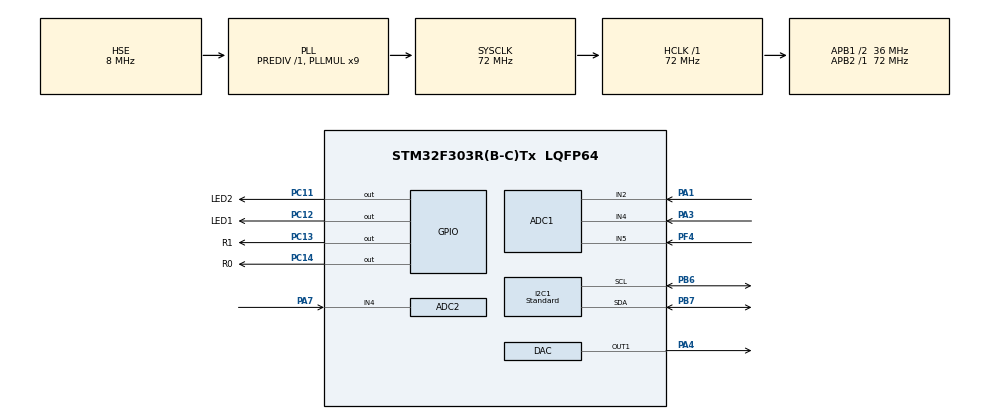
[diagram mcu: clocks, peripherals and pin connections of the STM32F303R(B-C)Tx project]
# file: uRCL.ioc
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Mcu.Family=STM32F3
NVIC.ADC1_2_IRQn=true\:0\:0\:true\:false\:true\:true\:true
PF4.Mode=IN5-Single-Ended
RCC.CortexFreq_Value=72000000
Dma.ADC1.1.MemDataAlignment=DMA_MDATAALIGN_HALFWORD
ADC1.OffsetNumber-7\#ChannelRegularConversion=ADC_OFFSET_NONE
I2C1.I2C_Speed_Mode=I2C_Standard
ADC1.ContinuousConvMode=DISABLE
PC12.Signal=GPIO_Output
RCC.SYSCLKSourceVirtual=RCC_SYSCLKSOURCE_PLLCLK
PC13.GPIO_Label=R1
ProjectManager.StackSize=0x400
VP_TIM2_VS_ClockSourceITR.Mode=TriggerSource_ITR2
Dma.DAC_CH1.0.Instance=DMA2_Channel3
ADC2.DMAContinuousRequests=DISABLE
Dma.ADC1.1.Instance=DMA1_Channel1
ADC1.Mode=ADC_DUALMODE_REGSIMULT
RCC.HCLKFreq_Value=72000000
RCC.APB2TimFreq_Value=72000000
TIM3.Period=144-1
PB6.Signal=I2C1_SCL
Dma.ADC1.1.PeriphDataAlignment=DMA_PDATAALIGN_HALFWORD
PB6.Mode=I2C
ADC1.Rank3_Channel=ADC_CHANNEL_5
RCC.AHBFreq_Value=72000000
RCC.HSE_VALUE=8000000
RCC.PLLMUL=RCC_PLL_MUL9
DAC.DAC_Trigger=DAC_TRIGGER_T3_TRGO
PA14.Mode=Serial_Wire
PC11.GPIO_Label=LED2
Dma.ADC1.1.Priority=DMA_PRIORITY_VERY_HIGH
Dma.DAC_CH1.0.PeriphDataAlignment=DMA_PDATAALIGN_HALFWORD
PB7.Signal=I2C1_SDA
Dma.ADC1.1.Mode=DMA_NORMAL
ADC2.SamplingTimeOPAMP-6\#ChannelRegularConversion=ADC_SAMPLETIME_7CYCLES_5
NVIC.DMA2_Channel3_IRQn=true\:0\:0\:false\:false\:true\:false\:true
Mcu.Package=LQFP64
ADC1.EnableInjectedConversion=DISABLE
ADC2.SamplingTime-6\#ChannelRegularConversion=ADC_SAMPLETIME_19CYCLES_5
PC14-OSC32_IN.PinState=GPIO_PIN_SET
ADC1.SamplingTimeOPAMP-7\#ChannelRegularConversion=ADC_SAMPLETIME_7CYCLES_5
ADC2.Rank-6\#ChannelRegularConversion=1
Dma.ADC1.1.Direction=DMA_PERIPH_TO_MEMORY
Dma.ADC1.1.MemInc=DMA_MINC_ENABLE
Dma.DAC_CH1.0.Priority=DMA_PRIORITY_VERY_HIGH
ADC1.Rank1_Channel=ADC_CHANNEL_4
TIM2.TIM_MasterOutputTrigger=TIM_TRGO_OC1
Dma.Request1=ADC1
RCC.APB1TimFreq_Value=72000000
PC14-OSC32_IN.GPIO_Label=R0
PF1-OSC_OUT.Mode=HSE-External-Oscillator
Dma.Request0=DAC_CH1
ADC2.Offset-6\#ChannelRegularConversion=0
VP_TIM3_VS_ClockSourceINT.Mode=Internal
PF1-OSC_OUT.Signal=RCC_OSC_OUT
ADC2.Rank1_Channel=ADC_CHANNEL_4
PA3.Signal=ADC1_IN4
ADC2.ClockPrescaler=ADC_CLOCK_SYNC_PCLK_DIV4
RCC.PLLSourceVirtual=RCC_PLLSOURCE_HSE
I2C1.Speed=100
Dma.DAC_CH1.0.Mode=DMA_CIRCULAR
SH.COMP_DAC1_group.0=DAC_OUT1,DAC_OUT1
Dma.DAC_CH1.0.MemDataAlignment=DMA_MDATAALIGN_HALFWORD
ADC2.Mode=ADC_DUALMODE_REGSIMULT
PA7.Mode=IN4-Single-Ended
ADC2.OffsetNumber-6\#ChannelRegularConversion=ADC_OFFSET_NONE
TIM3.AutoReloadPreload=TIM_AUTORELOAD_PRELOAD_ENABLE
PC11.Signal=GPIO_Output
PC13.Signal=GPIO_Output
ADC2.EnableRegularConversion=ENABLE
RCC.APB1CLKDivider=RCC_HCLK_DIV2
PC14-OSC32_IN.Signal=GPIO_Output
I2C1.Analog_Filter=I2C_ANALOGFILTER_DISABLE
DAC.WaveGeneration=DISABLE
ADC1.Channel-7\#ChannelRegularConversion=ADC_CHANNEL_4
PA13.Signal=SYS_JTMS-SWDIO
PA3.Mode=IN4-Single-Ended
Dma.DAC_CH1.0.Direction=DMA_MEMORY_TO_PERIPH
ADC1.Offset-7\#ChannelRegularConversion=0
ADC2.ContinuousConvMode=DISABLE
PC12.PinState=GPIO_PIN_SET
ProjectManager.TargetToolchain=STM32CubeIDE
I2C1.Timing=0x00101D2D
Dma.DAC_CH1.0.MemInc=DMA_MINC_ENABLE
RCC.USBFreq_Value=72000000
RCC.LSE_VALUE=32768
ADC1.DMAAccessModeView=ENABLE
PA1.Signal=ADC1_IN2
PF0-OSC_IN.Mode=HSE-External-Oscillator
board=custom
RCC.APB2Freq_Value=72000000
PA1.Mode=IN2-Single-Ended
PC11.PinState=GPIO_PIN_SET
VP_TIM2_VS_ClockSourceINT.Mode=Internal
Dma.ADC1.1.PeriphInc=DMA_PINC_DISABLE
ADC1.DMAContinuousRequests=ENABLE
TIM2.Period=9
PA13.Mode=Serial_Wire
Mcu.Name=STM32F303R(B-C)Tx
ADC1.ExternalTrigConv=ADC_EXTERNALTRIGCONV_T2_TRGO
ADC2.EnableInjectedConversion=DISABLE
Dma.DAC_CH1.0.PeriphInc=DMA_PINC_DISABLE
PA4.Signal=COMP_DAC1_group
RCC.SYSCLKFreq_VALUE=72000000
ADC1.master=1
ADC2.NbrOfConversionFlag=1
TIM3.TIM_MasterSlaveMode=TIM_MASTERSLAVEMODE_ENABLE
PC12.GPIO_Label=LED1
PB7.Mode=I2C
PA14.Signal=SYS_JTCK-SWCLK
ProjectManager.HeapSize=0x200
RCC.HSI_VALUE=8000000
ADC1.Rank-7\#ChannelRegularConversion=1
NVIC.PriorityGroup=NVIC_PRIORITYGROUP_4
ADC1.NbrOfConversionFlag=1
TIM2.TIM_MasterSlaveMode=TIM_MASTERSLAVEMODE_DISABLE
ADC1.EnableRegularConversion=ENABLE
TIM2.AutoReloadPreload=TIM_AUTORELOAD_PRELOAD_ENABLE
PF4.Signal=ADC1_IN5
ADC1.SamplingTime-7\#ChannelRegularConversion=ADC_SAMPLETIME_19CYCLES_5
NVIC.DMA1_Channel1_IRQn=true\:0\:0\:false\:false\:true\:false\:true
PF0-OSC_IN.Signal=RCC_OSC_IN
ADC2.Channel-6\#ChannelRegularConversion=ADC_CHANNEL_4
TIM3.TIM_MasterOutputTrigger=TIM_TRGO_OC1
VP_TIM2_VS_ControllerModeGated.Mode=Gated Mode
RCC.APB1Freq_Value=36000000
ADC1.ClockPrescaler=ADC_CLOCK_SYNC_PCLK_DIV4
PA7.Signal=ADC2_IN4

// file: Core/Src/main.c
/* USER CODE BEGIN Header */
/**
  ******************************************************************************
  * @file           : main.c
  * @brief          : Main program body
  ******************************************************************************
  * @attention
  *
  * <h2><center>&copy; Copyright (c) 2022 STMicroelectronics.
  * All rights reserved.</center></h2>
  *
  * This software component is licensed by ST under BSD 3-Clause license,
  * the "License"; You may not use this file except in compliance with the
  * License. You may obtain a copy of the License at:
  *                        opensource.org/licenses/BSD-3-Clause
  *
  ******************************************************************************
  */
/* USER CODE END Header */
#include "main.h"

/* USER CODE BEGIN Includes */
#include "task.h"
#include "oled.h"

#include "math.h"
/* USER CODE END Includes */

/* USER CODE BEGIN PTD */
#define OFF 0
#define ON 1
#define EnableInterrupts     __enable_irq()
#define DisableInterrupts    __disable_irq()
/* USER CODE END PTD */

ADC_HandleTypeDef hadc1;
ADC_HandleTypeDef hadc2;
DMA_HandleTypeDef hdma_adc1;

DAC_HandleTypeDef hdac;
DMA_HandleTypeDef hdma_dac_ch1;

I2C_HandleTypeDef hi2c1;

TIM_HandleTypeDef htim2;
TIM_HandleTypeDef htim3;

void SystemClock_Config(void);
static void MX_GPIO_Init(void);
static void MX_DMA_Init(void);
static void MX_DAC_Init(void);
static void MX_I2C1_Init(void);
static void MX_ADC1_Init(void);
static void MX_ADC2_Init(void);
static void MX_TIM2_Init(void);
static void MX_TIM3_Init(void);

/* USER CODE BEGIN 0 */
uint16_t j=0;

uint16_t Out_I=0,OP_I=0;
uint16_t DIS_Out_I1=0,DIS_Out_I2=0;

uint16_t Out_V=0,OP_V=0;
uint16_t DIS_Out_V1=0,DIS_Out_V2=0;

float AD_1=0,AD1=0;
float AD_2=0,AD2=0;
float V_VOUT=0;
float V_VP=0;

float ADI_1=0,ADI1=0;
float ADI_2=0,ADI2=0;
float V_AMPL=0;
float V_AP=0;

uint16_t DAC_Value=500;
uint16_t AD_Statue=ON;
//uint16_t AD_Value[1000]={0};

uint16_t AD_Value_U[1000]={0};
uint16_t AD_Value_I[1000]={0};

uint16_t AD_U[1000]={0};
uint16_t AD_I[1000]={0};

float VPout[1000]={0};
float IPout[1000]={0};

uint32_t adcbuf1[100][2]={0};
float LX=0,LX_m=0;
float LXs=0;
float XL=0;
float a=0,b=0,c=0,d=0;

uint16_t DAC_Z[51]={
		2000,2226,2448,2663,2867,3058,3232,3387,3520,3629,3712,3768,3796,3796,3768,3712,3629,3520,3387,3232,3058,2867,2663,2448,2226,2000,1774,1552,1337,1133, 942, 768, 613, 480, 371, 288, 232, 204, 204, 232, 288, 371, 480, 613, 768, 942,1133,1337,1552,1774,2000,
		//2000,2174,2346,2515,2679,2837,2986,3127,3257,3376,3481,3573,3650,3712,3758,3787,3799,3795,3774,3737,3683,3614,3529,3430,3318,3194,3058,2913,2759,2597,2431,2260,2087,1913,1740,1569,1403,1241,1087, 942, 806, 682, 570, 471, 386, 317, 263, 226, 205, 201, 213, 242, 288, 350, 427, 519, 624, 743, 873,1014,1163,1321,1485,1654,1826,2000,
};

/* USER CODE END 0 */

int main(void)
{
  /* USER CODE BEGIN 1 */

	uint32_t tmp=0,tmp1=0;
	float VPout_Value=0;
	float IPout_Value=0;

  /* USER CODE END 1 */

  /* MCU Configuration--------------------------------------------------------*/

  /* Reset of all peripherals, Initializes the Flash interface and the Systick. */
  HAL_Init();

  /* Configure the system clock */
  SystemClock_Config();

  /* Initialize all configured peripherals */
  MX_GPIO_Init();
  MX_DMA_Init();
  MX_DAC_Init();
  MX_I2C1_Init();
  MX_ADC1_Init();
  MX_ADC2_Init();
  MX_TIM2_Init();
  MX_TIM3_Init();
  /* USER CODE BEGIN 2 */

  HAL_Delay(100);
  Display_int();

 // HAL_DAC_Start(&hdac,DAC_CHANNEL_1);
 // HAL_DAC_Start_DMA(&hdac,DAC_CHANNEL_1,(uint32_t*)DAC_Z,50,DAC_ALIGN_12B_R);
 // HAL_TIM_Base_Start(&htim1);
  // HAL_TIM_Base_Start_IT(&htim6);
 //  HAL_TIM_Base_Start(&htim15);
   HAL_TIM_Base_Start(&htim3);
   //HAL_TIM_Base_Start_IT(&htim15);
   //HAL_ADCEx_MultiModeStart_DMA(&hadc1,(uint32_t*)adcbuf1,200);//启动同步规则模式及DMA�??????????????????????????3个ADC，每次采�??????????????????????????100个点*3
   HAL_Delay(100);
   HAL_ADCEx_Calibration_Start(&hadc1,ADC_SINGLE_ENDED);//ADC1
   HAL_Delay(100);
   HAL_ADCEx_Calibration_Start(&hadc2,ADC_SINGLE_ENDED);//ADC1
   HAL_Delay(200);

   /*
   HAL_ADCEx_InjectedStart_IT(&hadc2);//启动ADC中断
   HAL_ADCEx_InjectedStart(&hadc2);//启动ADC
   HAL_ADC_Start(&hadc2);

 //HAL_ADC_Start_DMA(&hadc2,(uint32_t*)AD_Value_M,100);//�??????????????????????????????????????启ADC1 DMA1
 //HAL_DAC_SetValue(&hdac, DAC_CHANNEL_1, DAC_ALIGN_12B_R, DAC_Value);

//  HAL_OPAMP_Start(&hopamp1);//运放1
//  HAL_OPAMP_Start(&hopamp2);//运放2

  HAL_ADCEx_InjectedStart_IT(&hadc1);//启动ADC中断
  HAL_ADCEx_InjectedStart(&hadc1);//启动ADC
  HAL_ADC_Start(&hadc1);
*/
  HAL_ADC_Start_IT(&hadc1);
  HAL_ADC_Start(&hadc1);
  HAL_ADC_Start_IT(&hadc2);
  HAL_ADC_Start(&hadc2);
  HAL_Delay(100);
 //
 // HAL_TIM_Base_Start(&htim6);
  HAL_DAC_Start_DMA(&hdac,DAC_CHANNEL_1,(uint32_t*)DAC_Z,50,DAC_ALIGN_12B_R);
  HAL_Delay(10);
 // HAL_TIM_Base_Start(&htim1);
  HAL_TIM_Base_Start(&htim2);

  //HAL_ADCEx_MultiModeStart_DMA(&hadc1,(uint32_t*)adcbuf1,200);//启动同步规则模式及DMA�??????????????????????????3个ADC，每次采�??????????????????????????100个点*3

  HAL_GPIO_WritePin(GPIOC, R0_Pin, GPIO_PIN_RESET);
  HAL_GPIO_WritePin(GPIOC, R1_Pin, GPIO_PIN_RESET);

  /* USER CODE END 2 */

  /* Infinite loop */
  while (1)
  {

    /* USER CODE BEGIN 3 */

	  TaskRemarks();//任务扫描
	 // HAL_GPIO_TogglePin(GPIOC, LED1_Pin);

	//  TaskProcess();
	 // VPout_Value=0;
	 // V_AMPL=VPout_Value;
	//  TaskProcess();
	//  HAL_GPIO_WritePin(GPIOC, LED1_Pin, GPIO_PIN_RESET);

	  if(AD_Statue==OFF)
	  {

		 // HAL_GPIO_WritePin(GPIOC, LED1_Pin, GPIO_PIN_RESET);
		  HAL_GPIO_TogglePin(GPIOC, LED2_Pin);
		  TaskProcess();
         //  HAL_TIM_Base_Stop(&htim1);
           HAL_ADCEx_MultiModeStop_DMA(&hadc1);
        //   HAL_Delay(100);
           HAL_ADC_Stop(&hadc1);
           HAL_ADC_Stop(&hadc2);

////////////////////电压计算//////////////////////
		  for(tmp=10;tmp<70;tmp++)
		  {
			  DIS_Out_V1=AD_Value_U[tmp];
			  DIS_Out_V2=AD_Value_U[tmp+1];

			  AD_1=DIS_Out_V1*3.3/4095;
			  AD_2=DIS_Out_V2*3.3/4095;

			  AD1=(AD_1-1.5);
			  AD2=(AD_2-1.5);

			  VPout[tmp-10]=sqrt(AD1*AD1+AD2*AD2);
			  VPout_Value=0;
		  }

		  for(tmp=0;tmp<30;tmp++)
		  {
			  VPout_Value=VPout_Value+VPout[tmp];
		  }

		  V_VOUT=VPout_Value/30;

////////////////////////电流计算///////////////////////////////
		  for(tmp1=10;tmp1<70;tmp1++)
		  {
			  DIS_Out_I1=AD_Value_I[tmp1];
			  DIS_Out_I2=AD_Value_I[tmp1+1];

			  ADI_1=DIS_Out_I1*3.3/4095;
			  ADI_2=DIS_Out_I2*3.3/4095;

			  ADI1=(ADI_1-1.5);
			  ADI2=(ADI_2-1.5);

			  IPout[tmp1-10]=sqrt(ADI1*ADI1+ADI2*ADI2);
			  IPout_Value=0;
		  }

		  for(tmp1=0;tmp1<30;tmp1++)
		  {
			  IPout_Value=IPout_Value+IPout[tmp1];
		  }
		  V_AMPL=IPout_Value*2/30;

		  XL=V_VOUT*10/V_AMPL/(2*3.14);

		  ////////////////////自由轴法计算//////////////////////
		  LX=0;
		  		  for(tmp=100;tmp<600;tmp++)//100 600
		  		  {

		  			//  a=AD_Value_U[tmp]*3.3/4095-1.5;
		  		//	  b=AD_Value_U[tmp+1]*3.3/4095-1.5;
		  			//  c=(AD_Value_I[tmp]*3.3/4095-1.5)*2;
		  		//	  d=(AD_Value_I[tmp+1]*3.3/4095-1.5)*2;

		  			  a=(AD_Value_U[tmp]-1900);
		  			  b=(AD_Value_U[tmp+1]-1900);
		  			  c=(AD_Value_I[tmp]-1900)*2;
		  			  d=(AD_Value_I[tmp+1]-1900)*2;

		  		//	  a=(adcbuf1[tmp][1]-1900);
		  		//	  b=(adcbuf1[tmp+1][1]-1900);
		  		//	  c=(adcbuf1[tmp][0]-1900)*2;
		  		//	  d=(adcbuf1[tmp+1][0]-1900)*2;

		  			LX_m=(b*c-a*d)/(c*c+d*d);
		  			if(LX_m<0)
		  			{LX_m=-LX_m;}

		  			  LX=LX+LX_m;
		  			//tmp++;
		  		  }
		  LXs=LX*100*2/500/120;
/*
		  a=AD_Value_U[10]*3.3/4095-1.5;
		  b=AD_Value_U[11]*3.3/4095-1.5;
		  c=(AD_Value_I[10]*3.3/4095-1.5);
		  d=(AD_Value_I[11]*3.3/4095-1.5);

		  LX=(b*c-a*d)/(c*c+d*d);

		  if(LX<0)
		  {LX=-LX;}
		  LXs=LX;
*/

///////////////////////////////////从新�?????????????中断ADC//////////////////////////////////////////
		  EnableInterrupts;
          HAL_ADC_Start(&hadc1);
          HAL_ADC_Start(&hadc2);
          HAL_ADCEx_MultiModeStart_DMA(&hadc1,(uint32_t*)adcbuf1,200);
       //   HAL_TIM_Base_Start(&htim1);//重新启动采样

         // HAL_Delay(100);

	  AD_Statue=ON;
	  }
  }
  /* USER CODE END 3 */
}

void SystemClock_Config(void)
{
  RCC_OscInitTypeDef RCC_OscInitStruct = {0};
  RCC_ClkInitTypeDef RCC_ClkInitStruct = {0};
  RCC_PeriphCLKInitTypeDef PeriphClkInit = {0};

  /** Initializes the RCC Oscillators according to the specified parameters
  * in the RCC_OscInitTypeDef structure.
  */
  RCC_OscInitStruct.OscillatorType = RCC_OSCILLATORTYPE_HSI|RCC_OSCILLATORTYPE_HSE;
  RCC_OscInitStruct.HSEState = RCC_HSE_ON;
  RCC_OscInitStruct.HSEPredivValue = RCC_HSE_PREDIV_DIV1;
  RCC_OscInitStruct.HSIState = RCC_HSI_ON;
  RCC_OscInitStruct.HSICalibrationValue = RCC_HSICALIBRATION_DEFAULT;
  RCC_OscInitStruct.PLL.PLLState = RCC_PLL_ON;
  RCC_OscInitStruct.PLL.PLLSource = RCC_PLLSOURCE_HSE;
  RCC_OscInitStruct.PLL.PLLMUL = RCC_PLL_MUL9;
  if (HAL_RCC_OscConfig(&RCC_OscInitStruct) != HAL_OK)
  {
    Error_Handler();
  }
  /** Initializes the CPU, AHB and APB buses clocks
  */
  RCC_ClkInitStruct.ClockType = RCC_CLOCKTYPE_HCLK|RCC_CLOCKTYPE_SYSCLK
                              |RCC_CLOCKTYPE_PCLK1|RCC_CLOCKTYPE_PCLK2;
  RCC_ClkInitStruct.SYSCLKSource = RCC_SYSCLKSOURCE_PLLCLK;
  RCC_ClkInitStruct.AHBCLKDivider = RCC_SYSCLK_DIV1;
  RCC_ClkInitStruct.APB1CLKDivider = RCC_HCLK_DIV2;
  RCC_ClkInitStruct.APB2CLKDivider = RCC_HCLK_DIV1;

  if (HAL_RCC_ClockConfig(&RCC_ClkInitStruct, FLASH_LATENCY_2) != HAL_OK)
  {
    Error_Handler();
  }
  PeriphClkInit.PeriphClockSelection = RCC_PERIPHCLK_I2C1;
  PeriphClkInit.I2c1ClockSelection = RCC_I2C1CLKSOURCE_HSI;
  if (HAL_RCCEx_PeriphCLKConfig(&PeriphClkInit) != HAL_OK)
  {
    Error_Handler();
  }
}

static void MX_ADC1_Init(void)
{

  ADC_MultiModeTypeDef multimode = {0};
  ADC_ChannelConfTypeDef sConfig = {0};

  /** Common config
  */
  hadc1.Instance = ADC1;
  hadc1.Init.ClockPrescaler = ADC_CLOCK_SYNC_PCLK_DIV4;
  hadc1.Init.Resolution = ADC_RESOLUTION_12B;
  hadc1.Init.ScanConvMode = ADC_SCAN_DISABLE;
  hadc1.Init.ContinuousConvMode = DISABLE;
  hadc1.Init.DiscontinuousConvMode = DISABLE;
  hadc1.Init.ExternalTrigConvEdge = ADC_EXTERNALTRIGCONVEDGE_RISING;
  hadc1.Init.ExternalTrigConv = ADC_EXTERNALTRIGCONV_T2_TRGO;
  hadc1.Init.DataAlign = ADC_DATAALIGN_RIGHT;
  hadc1.Init.NbrOfConversion = 1;
  hadc1.Init.DMAContinuousRequests = ENABLE;
  hadc1.Init.EOCSelection = ADC_EOC_SINGLE_CONV;
  hadc1.Init.LowPowerAutoWait = DISABLE;
  hadc1.Init.Overrun = ADC_OVR_DATA_OVERWRITTEN;
  if (HAL_ADC_Init(&hadc1) != HAL_OK)
  {
    Error_Handler();
  }
  /** Configure the ADC multi-mode
  */
  multimode.Mode = ADC_DUALMODE_REGSIMULT;
  multimode.DMAAccessMode = ADC_DMAACCESSMODE_12_10_BITS;
  multimode.TwoSamplingDelay = ADC_TWOSAMPLINGDELAY_1CYCLE;
  if (HAL_ADCEx_MultiModeConfigChannel(&hadc1, &multimode) != HAL_OK)
  {
    Error_Handler();
  }
  /** Configure Regular Channel
  */
  sConfig.Channel = ADC_CHANNEL_4;
  sConfig.Rank = ADC_REGULAR_RANK_1;
  sConfig.SingleDiff = ADC_SINGLE_ENDED;
  sConfig.SamplingTime = ADC_SAMPLETIME_19CYCLES_5;
  sConfig.OffsetNumber = ADC_OFFSET_NONE;
  sConfig.Offset = 0;
  if (HAL_ADC_ConfigChannel(&hadc1, &sConfig) != HAL_OK)
  {
    Error_Handler();
  }

}

static void MX_ADC2_Init(void)
{

  ADC_ChannelConfTypeDef sConfig = {0};

  /** Common config
  */
  hadc2.Instance = ADC2;
  hadc2.Init.ClockPrescaler = ADC_CLOCK_SYNC_PCLK_DIV4;
  hadc2.Init.Resolution = ADC_RESOLUTION_12B;
  hadc2.Init.ScanConvMode = ADC_SCAN_DISABLE;
  hadc2.Init.ContinuousConvMode = DISABLE;
  hadc2.Init.DiscontinuousConvMode = DISABLE;
  hadc2.Init.DataAlign = ADC_DATAALIGN_RIGHT;
  hadc2.Init.NbrOfConversion = 1;
  hadc2.Init.DMAContinuousRequests = DISABLE;
  hadc2.Init.EOCSelection = ADC_EOC_SINGLE_CONV;
  hadc2.Init.LowPowerAutoWait = DISABLE;
  hadc2.Init.Overrun = ADC_OVR_DATA_OVERWRITTEN;
  if (HAL_ADC_Init(&hadc2) != HAL_OK)
  {
    Error_Handler();
  }
  /** Configure Regular Channel
  */
  sConfig.Channel = ADC_CHANNEL_4;
  sConfig.Rank = ADC_REGULAR_RANK_1;
  sConfig.SingleDiff = ADC_SINGLE_ENDED;
  sConfig.SamplingTime = ADC_SAMPLETIME_19CYCLES_5;
  sConfig.OffsetNumber = ADC_OFFSET_NONE;
  sConfig.Offset = 0;
  if (HAL_ADC_ConfigChannel(&hadc2, &sConfig) != HAL_OK)
  {
    Error_Handler();
  }

}

static void MX_DAC_Init(void)
{

  DAC_ChannelConfTypeDef sConfig = {0};

  /** DAC Initialization
  */
  hdac.Instance = DAC;
  if (HAL_DAC_Init(&hdac) != HAL_OK)
  {
    Error_Handler();
  }
  /** DAC channel OUT1 config
  */
  sConfig.DAC_Trigger = DAC_TRIGGER_T3_TRGO;
  sConfig.DAC_OutputBuffer = DAC_OUTPUTBUFFER_ENABLE;
  if (HAL_DAC_ConfigChannel(&hdac, &sConfig, DAC_CHANNEL_1) != HAL_OK)
  {
    Error_Handler();
  }
  __HAL_REMAPTRIGGER_ENABLE(HAL_REMAPTRIGGER_DAC1_TRIG);

}

static void MX_I2C1_Init(void)
{

  hi2c1.Instance = I2C1;
  hi2c1.Init.Timing = 0x00101D2D;
  hi2c1.Init.OwnAddress1 = 0;
  hi2c1.Init.AddressingMode = I2C_ADDRESSINGMODE_7BIT;
  hi2c1.Init.DualAddressMode = I2C_DUALADDRESS_DISABLE;
  hi2c1.Init.OwnAddress2 = 0;
  hi2c1.Init.OwnAddress2Masks = I2C_OA2_NOMASK;
  hi2c1.Init.GeneralCallMode = I2C_GENERALCALL_DISABLE;
  hi2c1.Init.NoStretchMode = I2C_NOSTRETCH_DISABLE;
  if (HAL_I2C_Init(&hi2c1) != HAL_OK)
  {
    Error_Handler();
  }
  /** Configure Analogue filter
  */
  if (HAL_I2CEx_ConfigAnalogFilter(&hi2c1, I2C_ANALOGFILTER_DISABLE) != HAL_OK)
  {
    Error_Handler();
  }
  /** Configure Digital filter
  */
  if (HAL_I2CEx_ConfigDigitalFilter(&hi2c1, 0) != HAL_OK)
  {
    Error_Handler();
  }

}

static void MX_TIM2_Init(void)
{

  TIM_ClockConfigTypeDef sClockSourceConfig = {0};
  TIM_SlaveConfigTypeDef sSlaveConfig = {0};
  TIM_MasterConfigTypeDef sMasterConfig = {0};

  htim2.Instance = TIM2;
  htim2.Init.Prescaler = 0;
  htim2.Init.CounterMode = TIM_COUNTERMODE_UP;
  htim2.Init.Period = 9;
  htim2.Init.ClockDivision = TIM_CLOCKDIVISION_DIV1;
  htim2.Init.AutoReloadPreload = TIM_AUTORELOAD_PRELOAD_ENABLE;
  if (HAL_TIM_Base_Init(&htim2) != HAL_OK)
  {
    Error_Handler();
  }
  sClockSourceConfig.ClockSource = TIM_CLOCKSOURCE_INTERNAL;
  if (HAL_TIM_ConfigClockSource(&htim2, &sClockSourceConfig) != HAL_OK)
  {
    Error_Handler();
  }
  sSlaveConfig.SlaveMode = TIM_SLAVEMODE_GATED;
  sSlaveConfig.InputTrigger = TIM_TS_ITR2;
  if (HAL_TIM_SlaveConfigSynchro(&htim2, &sSlaveConfig) != HAL_OK)
  {
    Error_Handler();
  }
  sMasterConfig.MasterOutputTrigger = TIM_TRGO_OC1;
  sMasterConfig.MasterSlaveMode = TIM_MASTERSLAVEMODE_DISABLE;
  if (HAL_TIMEx_MasterConfigSynchronization(&htim2, &sMasterConfig) != HAL_OK)
  {
    Error_Handler();
  }

}

static void MX_TIM3_Init(void)
{

  TIM_ClockConfigTypeDef sClockSourceConfig = {0};
  TIM_MasterConfigTypeDef sMasterConfig = {0};

  htim3.Instance = TIM3;
  htim3.Init.Prescaler = 0;
  htim3.Init.CounterMode = TIM_COUNTERMODE_UP;
  htim3.Init.Period = 144-1;
  htim3.Init.ClockDivision = TIM_CLOCKDIVISION_DIV1;
  htim3.Init.AutoReloadPreload = TIM_AUTORELOAD_PRELOAD_ENABLE;
  if (HAL_TIM_Base_Init(&htim3) != HAL_OK)
  {
    Error_Handler();
  }
  sClockSourceConfig.ClockSource = TIM_CLOCKSOURCE_INTERNAL;
  if (HAL_TIM_ConfigClockSource(&htim3, &sClockSourceConfig) != HAL_OK)
  {
    Error_Handler();
  }
  sMasterConfig.MasterOutputTrigger = TIM_TRGO_OC1;
  sMasterConfig.MasterSlaveMode = TIM_MASTERSLAVEMODE_ENABLE;
  if (HAL_TIMEx_MasterConfigSynchronization(&htim3, &sMasterConfig) != HAL_OK)
  {
    Error_Handler();
  }

}

static void MX_DMA_Init(void)
{

  /* DMA controller clock enable */
  __HAL_RCC_DMA2_CLK_ENABLE();
  __HAL_RCC_DMA1_CLK_ENABLE();

  /* DMA interrupt init */
  /* DMA1_Channel1_IRQn interrupt configuration */
  HAL_NVIC_SetPriority(DMA1_Channel1_IRQn, 0, 0);
  HAL_NVIC_EnableIRQ(DMA1_Channel1_IRQn);
  /* DMA2_Channel3_IRQn interrupt configuration */
  HAL_NVIC_SetPriority(DMA2_Channel3_IRQn, 0, 0);
  HAL_NVIC_EnableIRQ(DMA2_Channel3_IRQn);

}

static void MX_GPIO_Init(void)
{
  GPIO_InitTypeDef GPIO_InitStruct = {0};

  /* GPIO Ports Clock Enable */
  __HAL_RCC_GPIOC_CLK_ENABLE();
  __HAL_RCC_GPIOF_CLK_ENABLE();
  __HAL_RCC_GPIOA_CLK_ENABLE();
  __HAL_RCC_GPIOB_CLK_ENABLE();

  /*Configure GPIO pin Output Level */
  HAL_GPIO_WritePin(R1_GPIO_Port, R1_Pin, GPIO_PIN_RESET);

  /*Configure GPIO pin Output Level */
  HAL_GPIO_WritePin(GPIOC, R0_Pin|LED2_Pin|LED1_Pin, GPIO_PIN_SET);

  /*Configure GPIO pins : R1_Pin R0_Pin LED2_Pin LED1_Pin */
  GPIO_InitStruct.Pin = R1_Pin|R0_Pin|LED2_Pin|LED1_Pin;
  GPIO_InitStruct.Mode = GPIO_MODE_OUTPUT_PP;
  GPIO_InitStruct.Pull = GPIO_NOPULL;
  GPIO_InitStruct.Speed = GPIO_SPEED_FREQ_LOW;
  HAL_GPIO_Init(GPIOC, &GPIO_InitStruct);

}

/* USER CODE BEGIN 4 */

void TaskDispStatus(void)
{
	Display_SET_scan(V_VOUT*1000,V_AMPL*1000);//Set_Out_I*2/10
	Display_scan(XL*1000,LXs*1000);//DIS_Out_I1
	//OLED_clear();
}

void HAL_TIM_PeriodElapsedCallback(TIM_HandleTypeDef *htim)

{

	//static uint16_t i=0;

	if(htim->Instance == TIM6)//用于扫描系统函数
	{
		//HAL_TIM_Base_Stop_IT(&htim6);
		//TaskRemarks();//任务扫描
		//HAL_GPIO_WritePin(GPIOC, LED2_Pin, GPIO_PIN_SET);
		//HAL_GPIO_TogglePin(GPIOC, LED2_Pin);
	//	HAL_GPIO_TogglePin(GPIOC, LED1_Pin);

		//HAL_TIM_Base_Start_IT(&htim6);

	}

	if(htim->Instance == TIM15)//用于DAC输出更新
	{

		//HAL_GPIO_TogglePin(GPIOC, LED1_Pin);

	//	  HAL_DAC_Start(&hdac,DAC_CHANNEL_1);
		//  HAL_DAC_SetValue(&hdac, DAC_CHANNEL_1, DAC_ALIGN_12B_R, DAC_Value);//改变DAC�????????????????????????????????????????????????????????????????????????????????
		 // HAL_Delay(500);
		//  DAC_Value=DAC_Z[i++];
	//	  if(i>=65)
	//	  {
	//		  i=0;
	//	  }
	}

    //if (htim->Instance == htim14.Instance)
}

void HAL_ADC_ConvCpltCallback(ADC_HandleTypeDef* hadc)
{
	static uint16_t i=0,j=0;

	HAL_GPIO_TogglePin(GPIOC, LED1_Pin);

	//if(hadc == &hadc1)
	{AD_Value_I[i]=HAL_ADC_GetValue(&hadc1);i++;}
	//if(hadc == &hadc2)
	{AD_Value_U[j]=HAL_ADC_GetValue(&hadc2);j++;}

	if(j>1000)
	{
		i=0;
		j=0;
		DisableInterrupts;
		AD_Statue=OFF;
		//HAL_GPIO_WritePin(GPIOC, LED1_Pin, GPIO_PIN_RESET);
	}
}

/*
void HAL_ADCEx_InjectedConvCpltCallback(ADC_HandleTypeDef* hadc)
{
	//HAL_ADCEx_InjectedStop_IT(&hadc1);//关闭ADC中断
	static uint16_t i=0,j=0;

	//AD_Statue=OFF;

	if(hadc == &hadc1)
		{

		AD_Value_I[i] = HAL_ADCEx_InjectedGetValue(&hadc1, ADC_INJECTED_RANK_1);
	//	OP_I=HAL_ADCEx_InjectedGetValue(&hadc1, ADC_INJECTED_RANK_1);
	//	AD_Value_U[i]=HAL_ADCEx_InjectedGetValue(&hadc1, ADC_INJECTED_RANK_3);
		//AD_Value[i]=Out_I;
		i++;
		HAL_GPIO_TogglePin(GPIOC, LED2_Pin);
		if(i>1000)
		{
		//	HAL_GPIO_TogglePin(GPIOC, LED1_Pin);
			i=0;
		//	AD_Statue=OFF;
		//	DisableInterrupts;
		}
		}

	if((hadc == &hadc2)&&(AD_Statue==ON))
		{

		AD_Value_U[j] = HAL_ADCEx_InjectedGetValue(&hadc2, ADC_INJECTED_RANK_1);
	//	OP_I=HAL_ADCEx_InjectedGetValue(&hadc1, ADC_INJECTED_RANK_1);
	//	AD_Value_U[i]=HAL_ADCEx_InjectedGetValue(&hadc1, ADC_INJECTED_RANK_3);
		j++;
		HAL_GPIO_TogglePin(GPIOC, LED1_Pin);
		if(j>1000)
		{
		//	HAL_GPIO_TogglePin(GPIOC, LED1_Pin);
			j=0;
			AD_Statue=OFF;
			DisableInterrupts;
		}
		}

}
*/

/* USER CODE END 4 */

void Error_Handler(void)
{
  __disable_irq();
  while (1)
  {
  }
}

/************************ (C) COPYRIGHT STMicroelectronics *****END OF FILE****/
